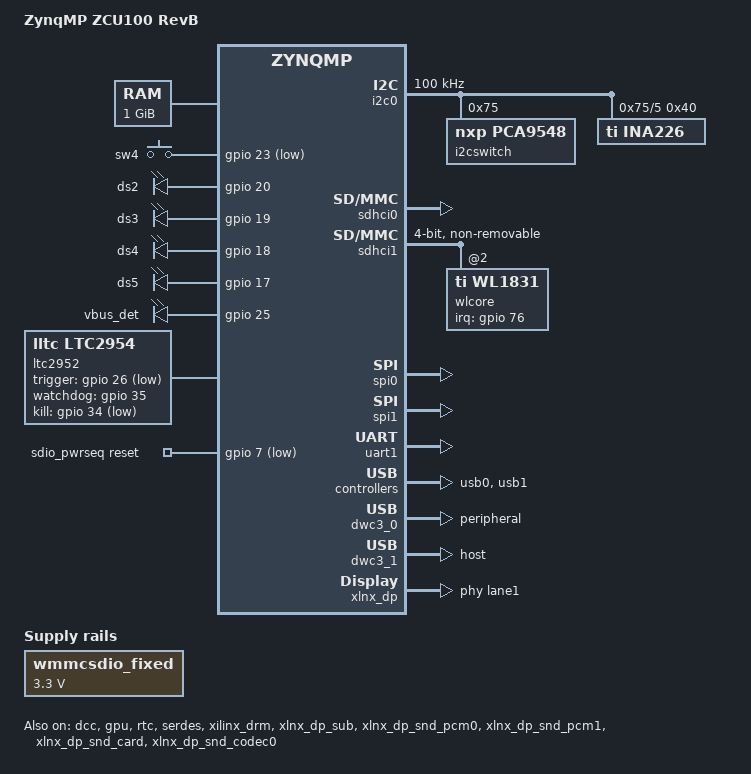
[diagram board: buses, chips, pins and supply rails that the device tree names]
/*
 * dts file for Xilinx ZynqMP ZCU100 revB
 *
 * (C) Copyright 2016, Xilinx, Inc.
 *
 * Michal Simek <michal.simek@xilinx.com>
 * Nathalie Chan King Choy <nathalie@xilinx.com>
 *
 * SPDX-License-Identifier:	GPL-2.0+
 */

/dts-v1/;

#include "zynqmp.dtsi"
#include "zynqmp-clk.dtsi"
#include <dt-bindings/interrupt-controller/irq.h>
#include <dt-bindings/gpio/gpio.h>
#include <dt-bindings/phy/phy.h>

/ {
	model = "ZynqMP ZCU100 RevB";
	compatible = "xlnx,zynqmp-zcu100-revB", "xlnx,zynqmp-zcu100", "xlnx,zynqmp";

	aliases {
		gpio0 = &gpio;
		i2c0 = &i2c0;
		rtc0 = &rtc;
		serial0 = &uart1;
		serial1 = &dcc;
		spi0 = &spi0;
		spi1 = &spi1;
		usb0 = &usb0;
		usb1 = &usb1;
		mmc0 = &sdhci0;
		mmc1 = &sdhci1;
	};

	chosen {
		bootargs = "earlycon";
		stdout-path = "serial0:115200n8";
	};

	memory@0 {
		device_type = "memory";
		reg = <0x0 0x0 0x0 0x40000000>;
	};

	gpio-keys {
		compatible = "gpio-keys";
		#address-cells = <1>;
		#size-cells = <0>;
		autorepeat;
		sw4 {
			label = "sw4";
			gpios = <&gpio 23 GPIO_ACTIVE_LOW>;
			linux,code = <108>; /* down */
			gpio-key,wakeup; /* FIXME test this */
			autorepeat;
		};
	};

	leds {
		compatible = "gpio-leds";
		ds2 {
			label = "ds2";
			gpios = <&gpio 20 GPIO_ACTIVE_HIGH>; /* uboot: gpio toggle 20 */
			linux,default-trigger = "heartbeat";
		};

		ds3 {
			label = "ds3";
			gpios = <&gpio 19 GPIO_ACTIVE_HIGH>;
			linux,default-trigger = "phy0tx"; /* WLAN tx */
			default-state = "off";
		};

		ds4 {
			label = "ds4";
			gpios = <&gpio 18 GPIO_ACTIVE_HIGH>;
			linux,default-trigger = "phy0rx"; /* WLAN rx */
			default-state = "off";
		};

		ds5 {
			label = "ds5";
			gpios = <&gpio 17 GPIO_ACTIVE_HIGH>;
		};

		/* FIXME this is not correct - used fixed-regulator for it */
		vbus_det { /* U5 USB5744  VBUS detection via MIO25 */
			label = "vbus_det";
			gpios = <&gpio 25 GPIO_ACTIVE_HIGH>;
			default-state = "on";
		};
	};

	ltc2952: ltc2952 { /* U7 */
		/*
		 * FIXME this is ltc2954 not ltc2952 - try this driver and
		 * maybe just extend compatible string.
		 */
		compatible = "lltc,ltc2954", "lltc,ltc2952";
		trigger-gpios = <&gpio 26 GPIO_ACTIVE_LOW>; /* INT line - input */
		/* If there is HW watchdog on mezzanine this signal should be connected there */
		watchdog-gpios = <&gpio 35 GPIO_ACTIVE_HIGH>; /* FIXME - unconnected MIO pin now */
		kill-gpios = <&gpio 34 GPIO_ACTIVE_LOW>; /* KILL signal - output */
	};

	wmmcsdio_fixed: fixedregulator-mmcsdio {
		compatible = "regulator-fixed";
		regulator-name = "wmmcsdio_fixed";
		regulator-min-microvolt = <3300000>;
		regulator-max-microvolt = <3300000>;
		regulator-always-on;
		regulator-boot-on;
	};

	sdio_pwrseq: sdio_pwrseq {
		compatible = "mmc-pwrseq-simple";
		reset-gpios = <&gpio 7 GPIO_ACTIVE_LOW>; /* WIFI_EN */
	};

	/* FIXME - not tested */
	dp_clk_wiz: dp_clk_wiz {
		compatible = "fixed-clock";
		#clock-cells = <0>;
		clock-frequency = <267439000>;
		clock-accuracy = <0x64>;
	};
};

&dcc {
	status = "okay";
};

&gpio {
	status = "okay";
};

&gpu {
	status = "okay";
};

&i2c0 {
	status = "okay";
	clock-frequency = <100000>;
	i2cswitch@75 { /* u11 */
		compatible = "nxp,pca9548";
		#address-cells = <1>;
		#size-cells = <0>;
		reg = <0x75>;
		i2csw_0: i2c@0 { /* i2c mw 75 0 1 */
			#address-cells = <1>;
			#size-cells = <0>;
			reg = <0>;
			/*
			 * LSEXP_I2C0
			 */
		};
		i2csw_1: i2c@1 { /* i2c mw 75 0 2 */
			#address-cells = <1>;
			#size-cells = <0>;
			reg = <1>;
			/*
			 * LSEXP_I2C1
			 */
		};
		i2csw_2: i2c@2 { /* i2c mw 75 0 4 */
			#address-cells = <1>;
			#size-cells = <0>;
			reg = <2>;
			/*
			 * HSEXP_I2C2
			 */
		};
		i2csw_3: i2c@3 { /* i2c mw 75 0 8 */
			#address-cells = <1>;
			#size-cells = <0>;
			reg = <3>;
			/*
			 * HSEXP_I2C3
			 */
		};
		i2csw_4: i2c@4 { /* i2c mw 75 0 10 */
			#address-cells = <1>;
			#size-cells = <0>;
			reg = <0x5e>;

			/* Also RTC, GPIO and regulators */
			/*
			CONFIG_GPIO_TPS6586X
			CONFIG_MFD_TPS6586X
			CONFIG_REGULATOR_TPS6586X
			CONFIG_RTC_DRV_TPS6586X -- not sure about it
				 - max addr is 0xcd
			*/
			/* rtc0 = "/i2c@7000d000/tps6586x@34"; */

			/* also super fast mode 1M supported */

			/* Comment it out because will be pre-programmed
			   at the factory */
			/*
			pmu: tps6586x@34 { // Custom TI PMIC u33
				compatible = "ti,tps6586x";
				reg = <0x34>;
				interrupt-parent = <&gpio>;
				interrupts = <39 GPIO_ACTIVE_LOW>; shared with gpio switch

				#gpio-cells = <2>;
				gpio-controller;

				ti,system-power-controller;

				sys-supply = <&some_reg>;
				// spec 12V

				buck1 5V0
				buck2 PSINTLP (no idea)
				buck3 VCC_PSDDR 1V1
				buck4 3V3
				buck5 1V2
				buck6 VCC_PSAUX 1V8



				vin-sm0-supply = <&some_reg>;
				vin-sm1-supply = <&some_reg>;
				vin-sm2-supply = <&some_reg>;
				vinldo01-supply = <...>;
				vinldo23-supply = <...>;
				vinldo4-supply = <...>;
				vinldo678-supply = <...>;
				vinldo9-supply = <...>;

				regulators {
					sys_reg: sys {
					        regulator-name = "vdd_sys";
					        regulator-boot-on;
					        regulator-always-on;
					};

					sm0_reg: sm0 {
					        regulator-min-microvolt = < 725000>;
					        regulator-max-microvolt = <1500000>;
					        regulator-boot-on;
					        regulator-always-on;
					};

					sm1_reg: sm1 {
					        regulator-min-microvolt = < 725000>;
					        regulator-max-microvolt = <1500000>;
					        regulator-boot-on;
					        regulator-always-on;
					};

					sm2_reg: sm2 {
					        regulator-min-microvolt = <3000000>;
					        regulator-max-microvolt = <4550000>;
					        regulator-boot-on;
					        regulator-always-on;
					};

					ldo0_reg: ldo0 {
					        regulator-name = "PCIE CLK";
					        regulator-min-microvolt = <3300000>;
					        regulator-max-microvolt = <3300000>;
					};

					ldo1_reg: ldo1 {
					        regulator-min-microvolt = < 725000>;
					        regulator-max-microvolt = <1500000>;
					};

					ldo2_reg: ldo2 {
					        regulator-min-microvolt = < 725000>;
					        regulator-max-microvolt = <1500000>;
					};

					ldo3_reg: ldo3 {
					        regulator-min-microvolt = <1250000>;
					        regulator-max-microvolt = <3300000>;
					};

					ldo4_reg: ldo4 {
					        regulator-min-microvolt = <1700000>;
					        regulator-max-microvolt = <2475000>;
					};

					ldo5_reg: ldo5 {
					        regulator-min-microvolt = <1250000>;
					        regulator-max-microvolt = <3300000>;
					};

					ldo6_reg: ldo6 {
					        regulator-min-microvolt = <1250000>;
					        regulator-max-microvolt = <3300000>;
					};

					ldo7_reg: ldo7 {
					        regulator-min-microvolt = <1250000>;
					        regulator-max-microvolt = <3300000>;
					};

					ldo8_reg: ldo8 {
					        regulator-min-microvolt = <1250000>;
					        regulator-max-microvolt = <3300000>;
					};

					ldo9_reg: ldo9 {
					        regulator-min-microvolt = <1250000>;
					        regulator-max-microvolt = <3300000>;
					};

				// FIXME look at this one
					ldo_rtc {
						regulator-name = "vdd_rtc_out,vdd_cell";
						regulator-min-microvolt = <3300000>;
						regulator-max-microvolt = <3300000>;
						regulator-always-on;
					};
				};
	       		};
			*/

		};
		i2csw_5: i2c@5 { /* i2c mw 75 0 20 */
			#address-cells = <1>;
			#size-cells = <0>;
			reg = <5>;
			/* PS_PMBUS */
			ina226@40 { /* u35 */
				compatible = "ti,ina226";
				reg = <0x40>;
				shunt-resistor = <10000>;
				/* MIO31 is alert which should be routed to PMUFW */
			};



		};
		i2csw_6: i2c@6 { /* i2c mw 75 0 40 */
			#address-cells = <1>;
			#size-cells = <0>;
			reg = <6>;
			/*
			 * Not Connected
			 */
		};
		i2csw_7: i2c@7 { /* i2c mw 75 0 80 */
			#address-cells = <1>;
			#size-cells = <0>;
			reg = <7>;
			/*
			 * usb5744 (DNP) - U5
			 * 100kHz - this is default freq for us
			 */
		};
	};
};

&rtc {
	status = "okay";
};

/* SD0 only supports 3.3V, no level shifter */
&sdhci0 {
	status = "okay";
	no-1-8-v;
	broken-cd; /* CD has to be enabled by default */
	disable-wp;
	xlnx,mio_bank = <0>;
};

&sdhci1 {
	status = "okay";
	bus-width = <0x4>;
	xlnx,mio_bank = <0>;
	non-removable;
	disable-wp;
	cap-power-off-card;
	mmc-pwrseq = <&sdio_pwrseq>;
	max-frequency = <16000000>;
	vqmmc-supply = <&wmmcsdio_fixed>;
	#address-cells = <1>;
	#size-cells = <0>;
	wlcore: wlcore@2 {
		compatible = "ti,wl1831";
		reg = <2>;
		interrupt-parent = <&gpio>;
		interrupts = <76 IRQ_TYPE_EDGE_RISING>; /* MIO76 WLAN_IRQ 1V8 */
	};
};

&serdes {
	status = "okay";
};

&spi0 { /* Low Speed connector */
	status = "okay";
};

&spi1 { /* High Speed connector */
	status = "okay";
};

&uart1 {
	status = "okay";
};

/* ULPI SMSC USB3320 */
&usb0 {
	status = "okay";
};

&dwc3_0 {
	status = "okay";
	dr_mode = "peripheral";
/*	phy-names = "usb3-phy";
	phys = <&lane2 PHY_TYPE_USB3 0 0 26000000>; */
	maximum-speed = "high-speed"; /* super-speed */
};

/* ULPI SMSC USB3320 */
&usb1 {
	status = "okay";
};

&dwc3_1 {
	status = "okay";
	dr_mode = "host";
/*	phy-names = "usb3-phy";
	phys = <&lane3 PHY_TYPE_USB3 1 0 26000000>; */
	maximum-speed = "high-speed"; /* super-speed */
};

&xilinx_drm {
	status = "okay";
	clocks = <&dp_clk_wiz>;
};

&xlnx_dp {
	status = "okay";
	phy-names = "dp-phy0", "dp-phy1";
	phys = <&lane1 PHY_TYPE_DP 0 1 27000000>,
	       <&lane0 PHY_TYPE_DP 1 1 27000000>;
};

&xlnx_dp_sub {
	status = "okay";
};

&xlnx_dp_snd_pcm0 {
	status = "okay";
};

&xlnx_dp_snd_pcm1 {
	status = "okay";
};

&xlnx_dp_snd_card {
	status = "okay";
};

&xlnx_dp_snd_codec0 {
	status = "okay";
};

&xlnx_dpdma {
	status = "okay";
};
